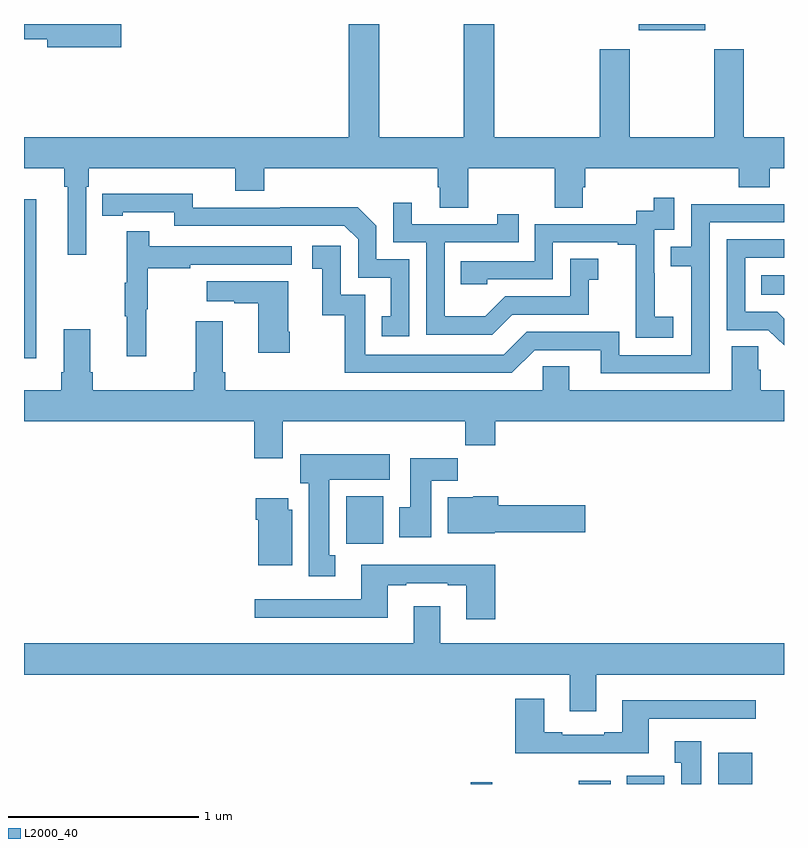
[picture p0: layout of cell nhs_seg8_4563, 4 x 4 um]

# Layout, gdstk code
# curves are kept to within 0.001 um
import gdstk
lib = gdstk.Library(unit=1e-6, precision=1e-09)
def R(c, l, rs):  # rectangles x0, y0, x1, y1
    for r in rs: c.add(gdstk.rectangle(r[:2], r[2:], *l))
def P(c, l, *ps):  # polygons
    for p in ps: c.add(gdstk.Polygon(p, *l))
L2000_40 = (2000, 40)

nhs_seg8_4563 = lib.new_cell('nhs_seg8_4563')
R(nhs_seg8_4563, L2000_40, [(389.352,1139.9,389.464,1139.909), (389.921,1139.9,390.088,1139.917), (390.173,1139.9,390.37,1139.944), (390.653,1139.9,390.832,1140.064), (388.695,1141.164,388.891,1141.414), (387,1142.142,387.064,1142.977), (390.88,1142.474,391,1142.578), (390.236,1143.866,390.586,1143.9)])
P(nhs_seg8_4563, L2000_40, [(387.327,1143.044),(387.341,1143.044),(387.341,1143.14),(388.112,1143.14),(388.112,1143.023),(388.265,1143.023),(388.265,1143.14),(389.177,1143.14),(389.177,1143.042),(389.189,1143.042),(389.189,1142.932),(389.337,1142.932),(389.337,1143.14),(389.794,1143.14),(389.794,1142.932),(389.941,1142.932),(389.941,1143.042),(389.954,1143.042),(389.954,1143.14),(390.761,1143.14),(390.761,1143.041),(390.926,1143.041),(390.926,1143.14),(391,1143.14),(391,1143.304),(390.789,1143.304),(390.789,1143.766),(390.634,1143.766),(390.634,1143.304),(390.189,1143.304),(390.189,1143.766),(390.029,1143.766),(390.029,1143.304),(389.474,1143.304),(389.474,1143.9),(389.314,1143.9),(389.314,1143.304),(388.869,1143.304),(388.869,1143.9),(388.709,1143.9),(388.709,1143.304),(387,1143.304),(387,1143.14),(387.211,1143.14),(387.211,1143.044),(387.23,1143.044),(387.23,1142.685),(387.327,1142.685)],
  [(387.511,1143.9),(387,1143.9),(387,1143.82),(387.122,1143.82),(387.122,1143.778),(387.511,1143.778)],
  [(389.028,1142.661),(388.854,1142.661),(388.854,1142.838),(388.756,1142.936),(388.348,1142.936),(388.348,1142.934),(387.888,1142.934),(387.888,1143.007),(387.412,1143.006),(387.412,1142.89),(387.52,1142.89),(387.52,1142.91),(387.792,1142.91),(387.792,1142.838),(388.686,1142.838),(388.758,1142.766),(388.758,1142.565),(388.931,1142.565),(388.931,1142.361),(388.882,1142.361),(388.882,1142.256),(389.028,1142.256)],
  [(390.418,1142.359),(390.32,1142.359),(390.32,1142.588),(390.318,1142.588),(390.318,1142.817),(390.423,1142.817),(390.423,1142.986),(390.315,1142.986),(390.315,1142.916),(390.222,1142.916),(390.222,1142.847),(389.688,1142.847),(389.688,1142.652),(389.299,1142.652),(389.299,1142.529),(389.439,1142.529),(389.439,1142.556),(389.784,1142.556),(389.784,1142.751),(390.125,1142.751),(390.125,1142.739),(390.221,1142.739),(390.221,1142.455),(390.22,1142.455),(390.22,1142.249),(390.418,1142.249)],
  [(389.569,1142.37),(389.973,1142.37),(389.973,1142.555),(390.022,1142.555),(390.022,1142.665),(389.874,1142.665),(389.874,1142.466),(389.532,1142.466),(389.428,1142.362),(389.214,1142.362),(389.214,1142.751),(389.603,1142.751),(389.603,1142.899),(389.492,1142.899),(389.492,1142.847),(389.041,1142.847),(389.041,1142.959),(388.944,1142.959),(388.944,1142.751),(389.118,1142.751),(389.118,1142.265),(389.464,1142.265)],
  [(390.609,1142.856),(391,1142.856),(391,1142.952),(390.513,1142.952),(390.513,1142.727),(390.403,1142.727),(390.403,1142.626),(390.513,1142.626),(390.513,1142.157),(390.132,1142.157),(390.132,1142.28),(389.646,1142.28),(389.526,1142.16),(388.797,1142.16),(388.797,1142.475),(388.668,1142.475),(388.668,1142.734),(388.518,1142.734),(388.518,1142.613),(388.571,1142.613),(388.571,1142.367),(388.689,1142.367),(388.689,1142.064),(389.568,1142.064),(389.688,1142.184),(390.035,1142.184),(390.035,1142.061),(390.609,1142.061)],
  [(387.644,1142.4),(387.652,1142.4),(387.652,1142.614),(387.875,1142.614),(387.875,1142.634),(388.408,1142.634),(388.408,1142.73),(387.659,1142.73),(387.659,1142.809),(387.542,1142.809),(387.542,1142.537),(387.531,1142.537),(387.531,1142.363),(387.542,1142.363),(387.542,1142.151),(387.644,1142.151)],
  [(391,1142.349),(390.964,1142.385),(390.795,1142.385),(390.795,1142.67),(391,1142.67),(391,1142.766),(390.699,1142.766),(390.699,1142.289),(390.918,1142.289),(391,1142.208)],
  [(388.398,1142.281),(388.39,1142.281),(388.39,1142.545),(387.963,1142.545),(387.963,1142.441),(388.106,1142.441),(388.106,1142.431),(388.232,1142.431),(388.232,1142.169),(388.398,1142.169)],
  [(388.363,1141.808),(389.323,1141.808),(389.323,1141.684),(389.48,1141.684),(389.48,1141.808),(391,1141.808),(391,1141.972),(390.878,1141.972),(390.878,1142.081),(390.864,1142.081),(390.864,1142.204),(390.725,1142.204),(390.725,1141.972),(389.869,1141.972),(389.869,1142.099),(389.73,1142.099),(389.73,1141.972),(388.058,1141.972),(388.058,1142.068),(388.045,1142.068),(388.045,1142.335),(387.905,1142.335),(387.905,1142.068),(387.893,1142.068),(387.893,1141.972),(387.362,1141.972),(387.362,1142.068),(387.349,1142.068),(387.349,1142.293),(387.209,1142.293),(387.209,1142.068),(387.197,1142.068),(387.197,1141.972),(387,1141.972),(387,1141.808),(388.211,1141.808),(388.211,1141.614),(388.363,1141.614)],
  [(388.639,1141.105),(388.606,1141.105),(388.606,1141.502),(388.924,1141.502),(388.924,1141.636),(388.454,1141.636),(388.454,1141.482),(388.499,1141.482),(388.499,1140.993),(388.639,1140.993)],
  [(389.143,1141.496),(389.282,1141.496),(389.282,1141.615),(389.033,1141.615),(389.033,1141.356),(388.976,1141.356),(388.976,1141.2),(389.143,1141.2)],
  [(389.478,1141.226),(389.953,1141.226),(389.953,1141.368),(389.495,1141.368),(389.495,1141.414),(389.364,1141.414),(389.364,1141.408),(389.231,1141.408),(389.231,1141.22),(389.478,1141.22)],
  [(388.411,1141.344),(388.39,1141.344),(388.39,1141.405),(388.22,1141.405),(388.22,1141.292),(388.232,1141.292),(388.232,1141.052),(388.411,1141.052)],
  [(389.48,1141.054),(388.775,1141.054),(388.775,1140.873),(388.215,1140.873),(388.215,1140.776),(388.915,1140.776),(388.915,1140.945),(389.011,1140.945),(389.011,1140.957),(389.231,1140.957),(389.231,1140.945),(389.327,1140.945),(389.327,1140.768),(389.48,1140.768)],
  [(390.013,1140.476),(391,1140.476),(391,1140.64),(389.191,1140.64),(389.191,1140.835),(389.051,1140.835),(389.051,1140.64),(387,1140.64),(387,1140.476),(389.873,1140.476),(389.873,1140.282),(390.013,1140.282)],
  [(390.289,1140.243),(390.85,1140.243),(390.85,1140.34),(390.149,1140.34),(390.149,1140.172),(390.053,1140.172),(390.053,1140.159),(389.833,1140.159),(389.833,1140.172),(389.737,1140.172),(389.737,1140.349),(389.585,1140.349),(389.585,1140.062),(390.289,1140.062)],
  [(390.565,1140.124),(390.425,1140.124),(390.425,1140.011),(390.458,1140.011),(390.458,1139.9),(390.565,1139.9)])

lib.write_gds('nhs_seg8_4563.gds')
